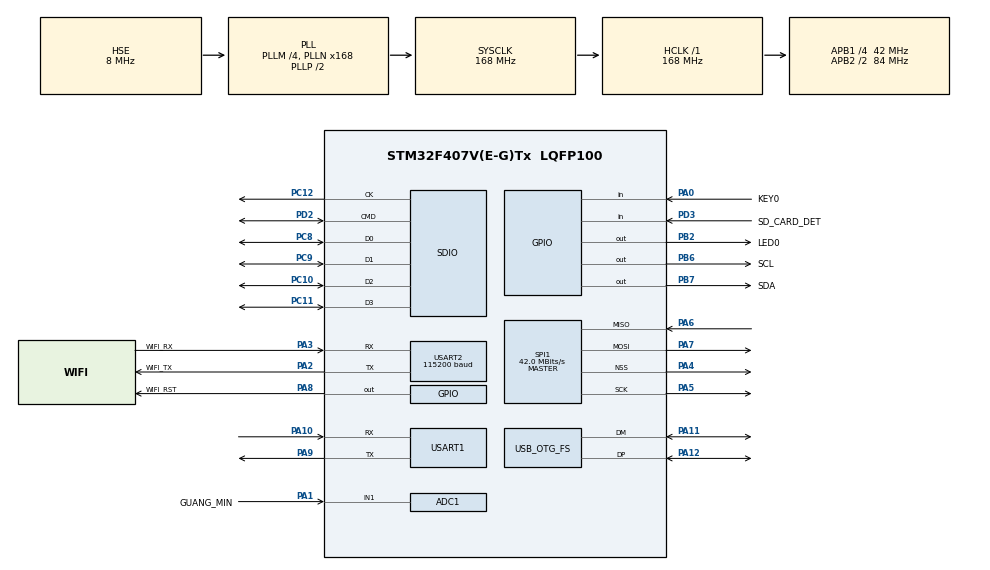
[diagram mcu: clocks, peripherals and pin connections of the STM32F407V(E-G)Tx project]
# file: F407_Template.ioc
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ADC1.Channel-0\#ChannelRegularConversion=ADC_CHANNEL_1
ADC1.NbrOfConversionFlag=1
ADC1.Rank-0\#ChannelRegularConversion=1
ADC1.SamplingTime-0\#ChannelRegularConversion=ADC_SAMPLETIME_3CYCLES
ADC1.master=1
Dma.Request0=SPI1_TX
Dma.Request1=SPI1_RX
Dma.Request2=SDIO_RX
Dma.Request3=SDIO_TX
Dma.Request4=USART1_TX
Dma.Request5=USART1_RX
Dma.Request6=USART2_RX
Dma.Request7=USART2_TX
Dma.SDIO_RX.2.Direction=DMA_PERIPH_TO_MEMORY
Dma.SDIO_RX.2.FIFOMode=DMA_FIFOMODE_ENABLE
Dma.SDIO_RX.2.FIFOThreshold=DMA_FIFO_THRESHOLD_FULL
Dma.SDIO_RX.2.Instance=DMA2_Stream6
Dma.SDIO_RX.2.MemBurst=DMA_MBURST_INC4
Dma.SDIO_RX.2.MemDataAlignment=DMA_MDATAALIGN_WORD
Dma.SDIO_RX.2.MemInc=DMA_MINC_ENABLE
Dma.SDIO_RX.2.Mode=DMA_PFCTRL
Dma.SDIO_RX.2.PeriphBurst=DMA_PBURST_INC4
Dma.SDIO_RX.2.PeriphDataAlignment=DMA_PDATAALIGN_WORD
Dma.SDIO_RX.2.PeriphInc=DMA_PINC_DISABLE
Dma.SDIO_RX.2.Priority=DMA_PRIORITY_HIGH
Dma.SDIO_TX.3.Direction=DMA_MEMORY_TO_PERIPH
Dma.SDIO_TX.3.FIFOMode=DMA_FIFOMODE_ENABLE
Dma.SDIO_TX.3.FIFOThreshold=DMA_FIFO_THRESHOLD_FULL
Dma.SDIO_TX.3.Instance=DMA2_Stream3
Dma.SDIO_TX.3.MemBurst=DMA_MBURST_INC4
Dma.SDIO_TX.3.MemDataAlignment=DMA_MDATAALIGN_WORD
Dma.SDIO_TX.3.MemInc=DMA_MINC_ENABLE
Dma.SDIO_TX.3.Mode=DMA_PFCTRL
Dma.SDIO_TX.3.PeriphBurst=DMA_PBURST_INC4
Dma.SDIO_TX.3.PeriphDataAlignment=DMA_PDATAALIGN_WORD
Dma.SDIO_TX.3.PeriphInc=DMA_PINC_DISABLE
Dma.SDIO_TX.3.Priority=DMA_PRIORITY_HIGH
Dma.SPI1_RX.1.Direction=DMA_PERIPH_TO_MEMORY
Dma.SPI1_RX.1.FIFOMode=DMA_FIFOMODE_DISABLE
Dma.SPI1_RX.1.Instance=DMA2_Stream0
Dma.SPI1_RX.1.MemDataAlignment=DMA_MDATAALIGN_BYTE
Dma.SPI1_RX.1.MemInc=DMA_MINC_ENABLE
Dma.SPI1_RX.1.Mode=DMA_NORMAL
Dma.SPI1_RX.1.PeriphDataAlignment=DMA_PDATAALIGN_BYTE
Dma.SPI1_RX.1.PeriphInc=DMA_PINC_DISABLE
Dma.SPI1_RX.1.Priority=DMA_PRIORITY_HIGH
Dma.SPI1_TX.0.Direction=DMA_MEMORY_TO_PERIPH
Dma.SPI1_TX.0.FIFOMode=DMA_FIFOMODE_DISABLE
Dma.SPI1_TX.0.Instance=DMA2_Stream5
Dma.SPI1_TX.0.MemDataAlignment=DMA_MDATAALIGN_BYTE
Dma.SPI1_TX.0.MemInc=DMA_MINC_ENABLE
Dma.SPI1_TX.0.Mode=DMA_NORMAL
Dma.SPI1_TX.0.PeriphDataAlignment=DMA_PDATAALIGN_BYTE
Dma.SPI1_TX.0.PeriphInc=DMA_PINC_DISABLE
Dma.SPI1_TX.0.Priority=DMA_PRIORITY_HIGH
Dma.USART1_RX.5.Direction=DMA_PERIPH_TO_MEMORY
Dma.USART1_RX.5.FIFOMode=DMA_FIFOMODE_DISABLE
Dma.USART1_RX.5.Instance=DMA2_Stream2
Dma.USART1_RX.5.MemDataAlignment=DMA_MDATAALIGN_BYTE
Dma.USART1_RX.5.MemInc=DMA_MINC_ENABLE
Dma.USART1_RX.5.Mode=DMA_NORMAL
Dma.USART1_RX.5.PeriphDataAlignment=DMA_PDATAALIGN_BYTE
Dma.USART1_RX.5.PeriphInc=DMA_PINC_DISABLE
Dma.USART1_RX.5.Priority=DMA_PRIORITY_HIGH
Dma.USART1_TX.4.Direction=DMA_MEMORY_TO_PERIPH
Dma.USART1_TX.4.FIFOMode=DMA_FIFOMODE_DISABLE
Dma.USART1_TX.4.Instance=DMA2_Stream7
Dma.USART1_TX.4.MemDataAlignment=DMA_MDATAALIGN_BYTE
Dma.USART1_TX.4.MemInc=DMA_MINC_ENABLE
Dma.USART1_TX.4.Mode=DMA_NORMAL
Dma.USART1_TX.4.PeriphDataAlignment=DMA_PDATAALIGN_BYTE
Dma.USART1_TX.4.PeriphInc=DMA_PINC_DISABLE
Dma.USART1_TX.4.Priority=DMA_PRIORITY_HIGH
Dma.USART2_RX.6.Direction=DMA_PERIPH_TO_MEMORY
Dma.USART2_RX.6.FIFOMode=DMA_FIFOMODE_DISABLE
Dma.USART2_RX.6.Instance=DMA1_Stream5
Dma.USART2_RX.6.MemDataAlignment=DMA_MDATAALIGN_BYTE
Dma.USART2_RX.6.MemInc=DMA_MINC_ENABLE
Dma.USART2_RX.6.Mode=DMA_NORMAL
Dma.USART2_RX.6.PeriphDataAlignment=DMA_PDATAALIGN_BYTE
Dma.USART2_RX.6.PeriphInc=DMA_PINC_DISABLE
Dma.USART2_RX.6.Priority=DMA_PRIORITY_VERY_HIGH
Dma.USART2_TX.7.Direction=DMA_MEMORY_TO_PERIPH
Dma.USART2_TX.7.FIFOMode=DMA_FIFOMODE_DISABLE
Dma.USART2_TX.7.Instance=DMA1_Stream6
Dma.USART2_TX.7.MemDataAlignment=DMA_MDATAALIGN_BYTE
Dma.USART2_TX.7.MemInc=DMA_MINC_ENABLE
Dma.USART2_TX.7.Mode=DMA_NORMAL
Dma.USART2_TX.7.PeriphDataAlignment=DMA_PDATAALIGN_BYTE
Dma.USART2_TX.7.PeriphInc=DMA_PINC_DISABLE
Dma.USART2_TX.7.Priority=DMA_PRIORITY_VERY_HIGH
FATFS.BSP.number=1
FATFS._CODE_PAGE=437
FATFS._USE_LFN=2
FATFS0.BSP.STBoard=false
FATFS0.BSP.api=Unknown
FATFS0.BSP.instance=PD3
FATFS0.BSP.ip=GPIO
FATFS0.BSP.mode=Input
FATFS0.BSP.name=Detect_SDIO
FATFS0.BSP.solution=PD3
FREERTOS.Tasks01=LEDTask,24,128,ledTask,Default,NULL,Dynamic,NULL,NULL;RTC_TASK,24,128,rtcTask,Default,NULL,Dynamic,NULL,NULL;GUANGMIN_Task,24,128,guangMinTask,Default,NULL,Dynamic,NULL,NULL;HCSR04Task,25,128,hcsr04Task,Default,NULL,Dynamic,NULL,NULL;ESP8266TASK,32,256,esp8266Task,Default,NULL,Dynamic,NULL,NULL;KEYTASK,40,128,keyTask,Default,NULL,Dynamic,NULL,NULL
Mcu.Family=STM32F4
Mcu.Name=STM32F407V(E-G)Tx
Mcu.Package=LQFP100
NVIC.ADC_IRQn=true\:5\:0\:false\:false\:true\:true\:true\:true\:true
NVIC.DMA1_Stream5_IRQn=true\:5\:0\:false\:false\:true\:true\:false\:true\:true
NVIC.DMA1_Stream6_IRQn=true\:5\:0\:false\:false\:true\:true\:false\:true\:true
NVIC.DMA2_Stream0_IRQn=true\:5\:0\:false\:false\:true\:true\:false\:true\:true
NVIC.DMA2_Stream2_IRQn=true\:5\:0\:false\:false\:true\:true\:false\:true\:true
NVIC.DMA2_Stream3_IRQn=true\:5\:0\:false\:false\:true\:true\:false\:true\:true
NVIC.DMA2_Stream5_IRQn=true\:5\:0\:false\:false\:true\:false\:false\:true\:true
NVIC.DMA2_Stream6_IRQn=true\:5\:0\:false\:false\:true\:true\:false\:true\:true
NVIC.DMA2_Stream7_IRQn=true\:5\:0\:false\:false\:true\:true\:false\:true\:true
NVIC.OTG_FS_IRQn=true\:5\:0\:false\:false\:true\:true\:false\:true\:true
NVIC.PriorityGroup=NVIC_PRIORITYGROUP_4
NVIC.RCC_IRQn=true\:5\:0\:false\:false\:true\:true\:true\:false\:true
NVIC.RTC_Alarm_IRQn=true\:5\:0\:false\:false\:true\:true\:true\:true\:true
NVIC.SDIO_IRQn=true\:5\:0\:false\:false\:true\:true\:true\:true\:true
NVIC.TIM6_DAC_IRQn=true\:15\:0\:false\:false\:true\:false\:false\:true\:true
NVIC.TimeBase=TIM6_DAC_IRQn
NVIC.TimeBaseIP=TIM6
NVIC.USART1_IRQn=true\:5\:0\:false\:false\:true\:true\:true\:true\:true
NVIC.USART2_IRQn=true\:5\:0\:false\:false\:true\:true\:true\:true\:true
PA0-WKUP.GPIO_Label=KEY0
PA0-WKUP.Signal=GPIO_Input
PA1.GPIO_Label=GUANG_MIN
PA1.Signal=ADCx_IN1
PA10.Mode=Asynchronous
PA10.Signal=USART1_RX
PA11.Mode=Device_Only
PA11.Signal=USB_OTG_FS_DM
PA12.Mode=Device_Only
PA12.Signal=USB_OTG_FS_DP
PA13.Mode=Serial_Wire
PA13.Signal=SYS_JTMS-SWDIO
PA14.Mode=Serial_Wire
PA14.Signal=SYS_JTCK-SWCLK
PA2.GPIO_Label=WIFI_TX
PA2.Mode=Asynchronous
PA2.Signal=USART2_TX
PA3.GPIO_Label=WIFI_RX
PA3.Mode=Asynchronous
PA3.Signal=USART2_RX
PA4.Mode=NSS_Signal_Hard_Output
PA4.Signal=SPI1_NSS
PA5.Mode=Full_Duplex_Master
PA5.Signal=SPI1_SCK
PA6.Mode=Full_Duplex_Master
PA6.Signal=SPI1_MISO
PA7.Mode=Full_Duplex_Master
PA7.Signal=SPI1_MOSI
PA8.GPIO_Label=WIFI_RST
PA8.GPIO_Speed=GPIO_SPEED_FREQ_HIGH
PA8.PinState=GPIO_PIN_SET
PA8.Signal=GPIO_Output
PA9.Mode=Asynchronous
PA9.Signal=USART1_TX
PB2.GPIO_Label=LED0
PB2.GPIO_ModeDefaultOutputPP=GPIO_MODE_OUTPUT_PP
PB2.GPIO_PuPd=GPIO_NOPULL
PB2.GPIO_Speed=GPIO_SPEED_FREQ_HIGH
PB2.PinState=GPIO_PIN_SET
PB2.Signal=GPIO_Output
PB6.GPIO_Label=SCL
PB6.GPIO_ModeDefaultOutputPP=GPIO_MODE_OUTPUT_OD
PB6.GPIO_PuPd=GPIO_NOPULL
PB6.GPIO_Speed=GPIO_SPEED_FREQ_HIGH
PB6.PinState=GPIO_PIN_SET
PB6.Signal=GPIO_Output
PB7.GPIO_Label=SDA
PB7.GPIO_ModeDefaultOutputPP=GPIO_MODE_OUTPUT_OD
PB7.GPIO_PuPd=GPIO_NOPULL
PB7.GPIO_Speed=GPIO_SPEED_FREQ_HIGH
PB7.PinState=GPIO_PIN_SET
PB7.Signal=GPIO_Output
PC10.Mode=SD_4_bits_Wide_bus
PC10.Signal=SDIO_D2
PC11.Mode=SD_4_bits_Wide_bus
PC11.Signal=SDIO_D3
PC12.Mode=SD_4_bits_Wide_bus
PC12.Signal=SDIO_CK
PC14-OSC32_IN.Mode=LSE-External-Oscillator
PC14-OSC32_IN.Signal=RCC_OSC32_IN
PC15-OSC32_OUT.Mode=LSE-External-Oscillator
PC15-OSC32_OUT.Signal=RCC_OSC32_OUT
PC8.Mode=SD_4_bits_Wide_bus
PC8.Signal=SDIO_D0
PC9.Mode=SD_4_bits_Wide_bus
PC9.Signal=SDIO_D1
PD2.Mode=SD_4_bits_Wide_bus
PD2.Signal=SDIO_CMD
PD3.GPIO_Label=SD_CARD_DET
PD3.GPIO_PuPd=GPIO_PULLDOWN
PD3.Signal=GPIO_Input
PH0-OSC_IN.Mode=HSE-External-Oscillator
PH0-OSC_IN.Signal=RCC_OSC_IN
PH1-OSC_OUT.Mode=HSE-External-Oscillator
PH1-OSC_OUT.Signal=RCC_OSC_OUT
ProjectManager.HeapSize=0x200
ProjectManager.StackSize=0x400
ProjectManager.TargetToolchain=MDK-ARM V5.32
RCC.48MHZClocksFreq_Value=48000000
RCC.AHBFreq_Value=168000000
RCC.APB1CLKDivider=RCC_HCLK_DIV4
RCC.APB1Freq_Value=42000000
RCC.APB1TimFreq_Value=84000000
RCC.APB2CLKDivider=RCC_HCLK_DIV2
RCC.APB2Freq_Value=84000000
RCC.APB2TimFreq_Value=168000000
RCC.CortexFreq_Value=168000000
RCC.HCLKFreq_Value=168000000
RCC.HSE_VALUE=8000000
RCC.HSI_VALUE=16000000
RCC.PLLM=4
RCC.PLLN=168
RCC.PLLQ=7
RCC.RCC_RTC_Clock_Source=RCC_RTCCLKSOURCE_LSE
RCC.RCC_RTC_Clock_SourceVirtual=RCC_RTCCLKSOURCE_LSE
RCC.SYSCLKFreq_VALUE=168000000
RCC.SYSCLKSource=RCC_SYSCLKSOURCE_PLLCLK
RCC.VCOOutputFreq_Value=336000000
RTC.Alarm=RTC_ALARM_A
RTC.AlarmMaskDateWeekDay=RTC_ALARMMASK_DATEWEEKDAY
RTC.AlarmMaskHours=RTC_ALARMMASK_HOURS
RTC.AlarmMaskMinutes=RTC_ALARMMASK_MINUTES
RTC.AlarmMaskSeconds=RTC_ALARMMASK_SECONDS
RTC.AlarmSubSecondMask=RTC_ALARMSUBSECONDMASK_SS14_9
RTC.Date=22
RTC.Format=RTC_FORMAT_BCD
RTC.Hours=12
RTC.Hours_A=23
RTC.Minutes=00
RTC.Minutes_A=55
RTC.Month=RTC_MONTH_APRIL
RTC.Seconds_A=56
RTC.StoreOperation=RTC_STOREOPERATION_RESET
RTC.Year=24
SDIO.ClockDiv=12
SH.ADCx_IN1.0=ADC1_IN1,IN1
SPI1.CalculateBaudRate=42.0 MBits/s
SPI1.Direction=SPI_DIRECTION_2LINES
SPI1.Mode=SPI_MODE_MASTER
SPI1.VirtualNSS=VM_NSSHARD
SPI1.VirtualType=VM_MASTER
TIM2.CounterMode=TIM_COUNTERMODE_UP
TIM2.Period=65535
TIM2.Prescaler=83
USART1.VirtualMode=VM_ASYNC
USART2.BaudRate=115200
USART2.VirtualMode=VM_ASYNC
USB_DEVICE.CLASS_NAME_FS=CDC
USB_DEVICE.VirtualMode-CDC_FS=Cdc
USB_DEVICE.VirtualModeFS=Cdc_FS
USB_OTG_FS.VirtualMode=Device_Only
VP_FATFS_VS_SDIO.Mode=SDIO
VP_FREERTOS_VS_CMSIS_V2.Mode=CMSIS_V2
VP_RTC_VS_RTC_Activate.Mode=RTC_Enabled
VP_RTC_VS_RTC_Alarm_A_Intern.Mode=Alarm A
VP_RTC_VS_RTC_Calendar.Mode=RTC_Calendar
VP_SYS_VS_tim6.Mode=TIM6
VP_TIM2_VS_ClockSourceINT.Mode=Internal
VP_USB_DEVICE_VS_USB_DEVICE_CDC_FS.Mode=CDC_FS
board=custom

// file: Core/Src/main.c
/* USER CODE BEGIN Header */
/**
 ******************************************************************************
 * @file           : main.c
 * @brief          : Main program body
 ******************************************************************************
 * @attention
 *
 * Copyright (c) 2024 STMicroelectronics.
 * All rights reserved.
 *
 * This software is licensed under terms that can be found in the LICENSE file
 * in the root directory of this software component.
 * If no LICENSE file comes with this software, it is provided AS-IS.
 *
 ******************************************************************************
 */
/* USER CODE END Header */
#include "main.h"
#include "cmsis_os.h"
#include "adc.h"
#include "dma.h"
#include "fatfs.h"
#include "rtc.h"
#include "sdio.h"
#include "spi.h"
#include "tim.h"
#include "usart.h"
#include "usb_device.h"
#include "gpio.h"

/* USER CODE BEGIN Includes */
#include "MQTTPacket.h"
#include "ESP8266Client.h"
#include "MQTTPacket.h"
#include "transport.h"
// #include "networkwrapper.h"
// #include "fifo.h"
#include "wifi_credentials.h"
/* USER CODE END Includes */

/* USER CODE BEGIN PTD */
//struct fifo rxFifo;
transport_iofunctions_t uart2_io =
{
    .send = uart_send,
    .recv = uart_recv
};
/* USER CODE END PTD */

/* USER CODE BEGIN PD */
#define USER_FREE_RTOS 0
#define OTA_APP1_ADDR       0x08008000        //A区固件存放起始地址
#define VECT_TAB_OFFSET     0x8000
/* USER CODE END PD */

/* USER CODE BEGIN PM */
int rx_len                       = 0;
int recv_end_flag                = 0;
int MQTT_connected               = 0;
uint8_t rxBuffer[RX_BUFFER_SIZE] = {0};
uint8_t debugSentBuffer[RX_BUFFER_SIZE];
/* USER CODE END PM */

/* USER CODE BEGIN PV */
uint8_t keyVal = 0;
/* USER CODE END PV */

void SystemClock_Config(void);
void MX_FREERTOS_Init(void);

/* USER CODE BEGIN 0 */
void WIFI_test(void);
long unsigned int network_gettime_ms(void)
{
    return (HAL_GetTick());
}
/* USER CODE END 0 */

int main(void)
{

  /* USER CODE BEGIN 1 */
  SCB->VTOR = OTA_APP1_ADDR;
  /* USER CODE END 1 */

  /* MCU Configuration--------------------------------------------------------*/

  /* Reset of all peripherals, Initializes the Flash interface and the Systick. */
  HAL_Init();

  /* Configure the system clock */
  SystemClock_Config();

  /* USER CODE BEGIN SysInit */
  __enable_irq();

  /* USER CODE END SysInit */

  /* Initialize all configured peripherals */
  MX_GPIO_Init();
  MX_DMA_Init();
  MX_RTC_Init();
  MX_TIM2_Init();
  MX_SDIO_SD_Init();
  MX_FATFS_Init();
  MX_SPI1_Init();
  MX_USART1_UART_Init();
  MX_USART2_UART_Init();
  MX_ADC1_Init();
  /* USER CODE BEGIN 2 */
  printf("jump APP success\r\n");
    //fifo_alloc(&rxFifo, FIFO_BUFFER_SIZE);
    HAL_UART_Receive_DMA(&huart2, rxBuffer, RX_BUFFER_SIZE);
    __HAL_UART_ENABLE_IT(&huart2, UART_IT_IDLE);
    __HAL_UART_ENABLE_IT(&huart2, UART_IT_RXNE);
    // transport_open(&uart2_io);

#if USER_FREE_RTOS
  /* USER CODE END 2 */

  /* Init scheduler */
  osKernelInitialize();

  /* Call init function for freertos objects (in cmsis_os2.c) */
  MX_FREERTOS_Init();

  /* Start scheduler */
  osKernelStart();

  /* We should never get here as control is now taken by the scheduler */

  /* Infinite loop */
  /* USER CODE BEGIN WHILE */
#endif
    // WIFI_test();

    while (1)
    {
    /* USER CODE END WHILE */

    /* USER CODE BEGIN 3 */
    printf("This is a first APP\r\n");
    HAL_Delay(1000);
    }

  /* USER CODE END 3 */
}

void SystemClock_Config(void)
{
  RCC_OscInitTypeDef RCC_OscInitStruct = {0};
  RCC_ClkInitTypeDef RCC_ClkInitStruct = {0};

  /** Configure the main internal regulator output voltage
  */
  __HAL_RCC_PWR_CLK_ENABLE();
  __HAL_PWR_VOLTAGESCALING_CONFIG(PWR_REGULATOR_VOLTAGE_SCALE1);

  /** Initializes the RCC Oscillators according to the specified parameters
  * in the RCC_OscInitTypeDef structure.
  */
  RCC_OscInitStruct.OscillatorType = RCC_OSCILLATORTYPE_HSE|RCC_OSCILLATORTYPE_LSE;
  RCC_OscInitStruct.HSEState = RCC_HSE_ON;
  RCC_OscInitStruct.LSEState = RCC_LSE_ON;
  RCC_OscInitStruct.PLL.PLLState = RCC_PLL_ON;
  RCC_OscInitStruct.PLL.PLLSource = RCC_PLLSOURCE_HSE;
  RCC_OscInitStruct.PLL.PLLM = 4;
  RCC_OscInitStruct.PLL.PLLN = 168;
  RCC_OscInitStruct.PLL.PLLP = RCC_PLLP_DIV2;
  RCC_OscInitStruct.PLL.PLLQ = 7;
  if (HAL_RCC_OscConfig(&RCC_OscInitStruct) != HAL_OK)
  {
    Error_Handler();
  }

  /** Initializes the CPU, AHB and APB buses clocks
  */
  RCC_ClkInitStruct.ClockType = RCC_CLOCKTYPE_HCLK|RCC_CLOCKTYPE_SYSCLK
                              |RCC_CLOCKTYPE_PCLK1|RCC_CLOCKTYPE_PCLK2;
  RCC_ClkInitStruct.SYSCLKSource = RCC_SYSCLKSOURCE_PLLCLK;
  RCC_ClkInitStruct.AHBCLKDivider = RCC_SYSCLK_DIV1;
  RCC_ClkInitStruct.APB1CLKDivider = RCC_HCLK_DIV4;
  RCC_ClkInitStruct.APB2CLKDivider = RCC_HCLK_DIV2;

  if (HAL_RCC_ClockConfig(&RCC_ClkInitStruct, FLASH_LATENCY_5) != HAL_OK)
  {
    Error_Handler();
  }
}

/* USER CODE BEGIN 4 */
void WIFI_test(void)
{
    uint8_t res;
    uint8_t res1;
    uint8_t res2;
    uint8_t res3;
    //初始化ESP8266
    ESP82_Init();
    //等待1s
    HAL_Delay(1000);
    ESP82AtTest();

    if (res==0)
    {
        printf("AT test success\r\n");
    }
    else
    {
        printf("AT test fail\r\n");
    }

    //设置模式
    res1 = ESP82_set_mode(1);

    if (res1==0)
    {
        printf("set mode success\r\n");
    }
    else
    {
        printf("set mode fail\r\n");
    }

    HAL_Delay(3000);
    //连接wifi�?
    ESP82_JoinAP(WIFI_AP_SSID, WIFI_AP_PASS);

    if (res2==0)
    {
        printf("wifi connect success\r\n");
    }
    else
    {
        printf("wifi connect fail\r\n");
    }

    //等待1s
    HAL_Delay(3000);
    //连接tcp服务�?
    ESP82_connect_tcp_server(SERVER_ADDR, 1883);

    if (res3==0)
    {
        printf("tcp connect success\r\n");
    }
    else
    {
        printf("tcp connect fail\r\n");
    }
}
/* USER CODE END 4 */

void HAL_TIM_PeriodElapsedCallback(TIM_HandleTypeDef *htim)
{
  if (htim->Instance == TIM6) {
    HAL_IncTick();
  }
  /* USER CODE BEGIN Callback 1 */
    if (htim->Instance == TIM2)
    {
        // updateDeviceInfo();

        if (MQTT_connected)
        {
            HAL_GPIO_TogglePin(LED0_GPIO_Port, LED0_Pin);
        }
        else
        {
            HAL_GPIO_WritePin(LED0_GPIO_Port, LED0_Pin, GPIO_PIN_SET);
        }
    }

  /* USER CODE END Callback 1 */
}

void Error_Handler(void)
{
    __disable_irq();
    while (1)
    {
    }
}

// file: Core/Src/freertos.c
/* USER CODE BEGIN Header */
/**
 ******************************************************************************
 * File Name          : freertos.c
 * Description        : Code for freertos applications
 ******************************************************************************
 * @attention
 *
 * Copyright (c) 2024 STMicroelectronics.
 * All rights reserved.
 *
 * This software is licensed under terms that can be found in the LICENSE file
 * in the root directory of this software component.
 * If no LICENSE file comes with this software, it is provided AS-IS.
 *
 ******************************************************************************
 */
/* USER CODE END Header */

#include "FreeRTOS.h"
#include "task.h"
#include "main.h"
#include "cmsis_os.h"

/* USER CODE BEGIN PTD */
RTC_DateTypeDef GetData; // 获取日期结构
RTC_TimeTypeDef GetTime; // 获取时间结构

/* USER CODE END PTD */

/* USER CODE BEGIN PM */
extern RTC_HandleTypeDef hrtc;
extern ADC_HandleTypeDef hadc1;
/* USER CODE END PM */

/* USER CODE BEGIN Variables */
uint16_t ADC1_Sample     = 0;
uint16_t ADC1_Value		 = 0;
extern  uint8_t keyVal;
/* USER CODE END Variables */
/* Definitions for LEDTask */
osThreadId_t LEDTaskHandle;
const osThreadAttr_t LEDTask_attributes = {
  .name = "LEDTask",
  .stack_size = 128 * 4,
  .priority = (osPriority_t) osPriorityNormal,
};
/* Definitions for RTC_TASK */
osThreadId_t RTC_TASKHandle;
const osThreadAttr_t RTC_TASK_attributes = {
  .name = "RTC_TASK",
  .stack_size = 128 * 4,
  .priority = (osPriority_t) osPriorityNormal,
};
/* Definitions for GUANGMIN_Task */
osThreadId_t GUANGMIN_TaskHandle;
const osThreadAttr_t GUANGMIN_Task_attributes = {
  .name = "GUANGMIN_Task",
  .stack_size = 128 * 4,
  .priority = (osPriority_t) osPriorityNormal,
};
/* Definitions for HCSR04Task */
osThreadId_t HCSR04TaskHandle;
const osThreadAttr_t HCSR04Task_attributes = {
  .name = "HCSR04Task",
  .stack_size = 128 * 4,
  .priority = (osPriority_t) osPriorityNormal1,
};
/* Definitions for ESP8266TASK */
osThreadId_t ESP8266TASKHandle;
const osThreadAttr_t ESP8266TASK_attributes = {
  .name = "ESP8266TASK",
  .stack_size = 256 * 4,
  .priority = (osPriority_t) osPriorityAboveNormal,
};
/* Definitions for KEYTASK */
osThreadId_t KEYTASKHandle;
const osThreadAttr_t KEYTASK_attributes = {
  .name = "KEYTASK",
  .stack_size = 128 * 4,
  .priority = (osPriority_t) osPriorityHigh,
};

void ledTask(void *argument);
void rtcTask(void *argument);
void guangMinTask(void *argument);
void hcsr04Task(void *argument);
void esp8266Task(void *argument);
void keyTask(void *argument);

extern void MX_USB_DEVICE_Init(void);
void MX_FREERTOS_Init(void); /* (MISRA C 2004 rule 8.1) */

void MX_FREERTOS_Init(void) {

  /* Create the thread(s) */
  /* creation of LEDTask */
  LEDTaskHandle = osThreadNew(ledTask, NULL, &LEDTask_attributes);

  /* creation of RTC_TASK */
  RTC_TASKHandle = osThreadNew(rtcTask, NULL, &RTC_TASK_attributes);

  /* creation of GUANGMIN_Task */
  GUANGMIN_TaskHandle = osThreadNew(guangMinTask, NULL, &GUANGMIN_Task_attributes);

  /* creation of HCSR04Task */
  HCSR04TaskHandle = osThreadNew(hcsr04Task, NULL, &HCSR04Task_attributes);

  /* creation of ESP8266TASK */
  ESP8266TASKHandle = osThreadNew(esp8266Task, NULL, &ESP8266TASK_attributes);

  /* creation of KEYTASK */
  KEYTASKHandle = osThreadNew(keyTask, NULL, &KEYTASK_attributes);

}

void ledTask(void *argument)
{
  /* init code for USB_DEVICE */
  MX_USB_DEVICE_Init();
  /* USER CODE BEGIN ledTask */
    /* Infinite loop */
    for (;;) {
        HAL_GPIO_WritePin(LED0_GPIO_Port, LED0_Pin, GPIO_PIN_SET);
        osDelay(100);
        HAL_GPIO_WritePin(LED0_GPIO_Port, LED0_Pin, GPIO_PIN_RESET);
        osDelay(400);
    }
  /* USER CODE END ledTask */
}

void rtcTask(void *argument)
{
  /* USER CODE BEGIN rtcTask */
    /* Infinite loop */
    for (;;) {
        /* Get the RTC current Time */
        HAL_RTC_GetTime(&hrtc, &GetTime, RTC_FORMAT_BIN);
        /* Get the RTC current Date */
        HAL_RTC_GetDate(&hrtc, &GetData, RTC_FORMAT_BIN);

        /* Display date Format : yy/mm/dd */
        printf("%02d/%02d/%02d\r\n", 2000 + GetData.Year, GetData.Month, GetData.Date);
        /* Display time Format : hh:mm:ss */
        printf("%02d:%02d:%02d\r\n", GetTime.Hours, GetTime.Minutes, GetTime.Seconds);
        printf("\r\n");
        osDelay(1000);
    }
  /* USER CODE END rtcTask */
}

void guangMinTask(void *argument)
{
  /* USER CODE BEGIN guangMinTask */
    /* Infinite loop */
    for (;;) {
        HAL_ADC_Start(&hadc1);
        if (HAL_ADC_PollForConversion(&hadc1, 10) == HAL_OK) {
            ADC1_Sample = HAL_ADC_GetValue(&hadc1);
            ADC1_Value  = ADC1_Sample * 330 / 4096;
        }
        printf("Light intensity: %d.%d%d\n", ADC1_Value / 100, (ADC1_Value / 10 % 10), ADC1_Value % 10);
        HAL_ADC_Stop(&hadc1);
        osDelay(500);
    }
  /* USER CODE END guangMinTask */
}

void hcsr04Task(void *argument)
{
  /* USER CODE BEGIN hcsr04Task */
    /* Infinite loop */
    for (;;) {
        float distant = 0;
       // distant       = read_len();
        printf("radarDistant: %.f cm\r\n, ", distant);
        osDelay(200);
    }
  /* USER CODE END hcsr04Task */
}

void esp8266Task(void *argument)
{
    for (;;) {
        osDelay(1);
    }
}

void keyTask(void *argument)
{
  /* USER CODE BEGIN keyTask */

    /* Infinite loop */
    for (;;) {
        if (HAL_GPIO_ReadPin(KEY0_GPIO_Port, KEY0_Pin) == GPIO_PIN_RESET) {
            osDelay(10);
            if (HAL_GPIO_ReadPin(KEY0_GPIO_Port, KEY0_Pin) == GPIO_PIN_RESET) {
                keyVal++;
            }
        }
        if (keyVal == 5) {
            keyVal = 0;
        }
    }
  /* USER CODE END keyTask */
}
